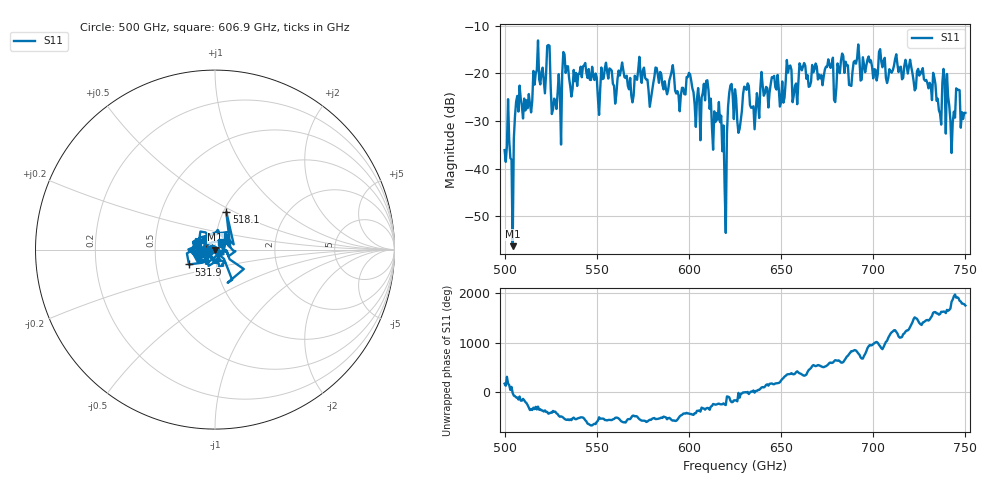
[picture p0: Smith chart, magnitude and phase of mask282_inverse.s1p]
!Created with skrf (http://scikit-rf.org).
# GHz S MA R 50.0
!freq magS11 angS11
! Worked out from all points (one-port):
!   401 points, 500 GHz to 750 GHz, reference 50 ohm
!   lowest |S11| = -56.3 dB at 504.4 GHz (marker M1), VSWR 1.00, Z = 50.1 - j0.0384 ohm
!   |S11| at or under -10 dB: start of sweep to end of sweep
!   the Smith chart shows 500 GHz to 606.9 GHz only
!   S11 on the Smith chart (normalised r, x): 500 GHz: 0.97, +0.00; 518.1 GHz: 1.03, +0.46; 531.9 GHz: 0.74, -0.13; 606.9 GHz: 1.06, +0.10
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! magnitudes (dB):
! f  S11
! 500 GHz  -36.1
! 504.4 GHz  -56.3
! 506.9 GHz  -24.8
! 513.8 GHz  -26.5
! 518.1 GHz  -13.1
! 523.8 GHz  -14.1
! 526.9 GHz  -25.3
! 531.2 GHz  -20.1
! 531.9 GHz  -15.5
! 562.5 GHz  -20.5
! 579.4 GHz  -25.4
! 590.6 GHz  -19.6
! 593.8 GHz  -23.8
! 600 GHz  -19.9
! 606.9 GHz  -25.1
! 616.2 GHz  -26.0
! 619.4 GHz  -44.0
! 622.5 GHz  -22.6
! 625 GHz  -23.4
! 656.2 GHz  -26.1
! 687.5 GHz  -22.6
! 691.2 GHz  -16.9
! 718.8 GHz  -20.1
! 735.6 GHz  -27.8
! 738.8 GHz  -21.7
! 743.1 GHz  -30.4
! 745.6 GHz  -23.5
! 750 GHz  -28.3
